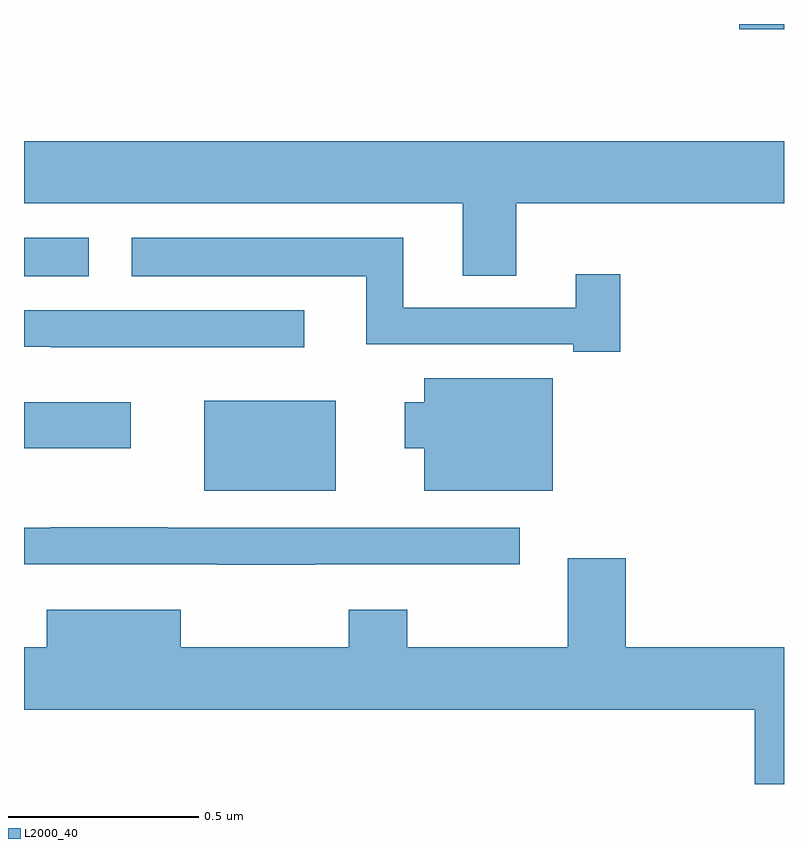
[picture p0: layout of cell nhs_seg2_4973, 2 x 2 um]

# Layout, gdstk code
import gdstk
lib = gdstk.Library(unit=1e-6, precision=1e-09)
def R(c, l, rs):  # rectangles x0, y0, x1, y1
    for r in rs: c.add(gdstk.rectangle(r[:2], r[2:], *l))
def P(c, l, *ps):  # polygons
    for p in ps: c.add(gdstk.Polygon(p, *l))
L2000_40 = (2000, 40)

nhs_seg2_4973 = lib.new_cell('nhs_seg2_4973')
R(nhs_seg2_4973, L2000_40, [(173.474,621.572,173.821,621.808), (173,621.683,173.281,621.805), (173,622.136,173.17,622.237), (174.882,622.786,175,622.8)])
P(nhs_seg2_4973, L2000_40, [(174.295,622.328),(175,622.328),(175,622.492),(173,622.492),(173,622.328),(174.155,622.328),(174.155,622.138),(174.295,622.138)],
  [(174.569,622.141),(174.452,622.141),(174.452,622.053),(173.998,622.053),(173.998,622.237),(173.283,622.237),(173.283,622.136),(173.9,622.136),(173.9,621.957),(174.446,621.957),(174.446,621.937),(174.569,621.937)],
  [(173.737,622.047),(173,622.047),(173,621.951),(173.071,621.951),(173.071,621.95),(173.737,621.95)],
  [(174.391,621.868),(174.053,621.868),(174.053,621.805),(174.002,621.805),(174.002,621.683),(174.053,621.683),(174.053,621.572),(174.391,621.572)],
  [(173.765,621.378),(174.304,621.378),(174.304,621.474),(173.378,621.474),(173.378,621.476),(173.071,621.476),(173.071,621.474),(173,621.474),(173,621.378),(173.509,621.378),(173.509,621.377),(173.765,621.377)],
  [(175,621.16),(174.584,621.16),(174.584,621.394),(174.431,621.394),(174.431,621.16),(174.009,621.16),(174.009,621.259),(173.854,621.259),(173.854,621.16),(173.413,621.16),(173.413,621.259),(173.06,621.259),(173.06,621.16),(173,621.16),(173,620.996),(174.923,620.996),(174.923,620.8),(175,620.8)])

lib.write_gds('nhs_seg2_4973.gds')
